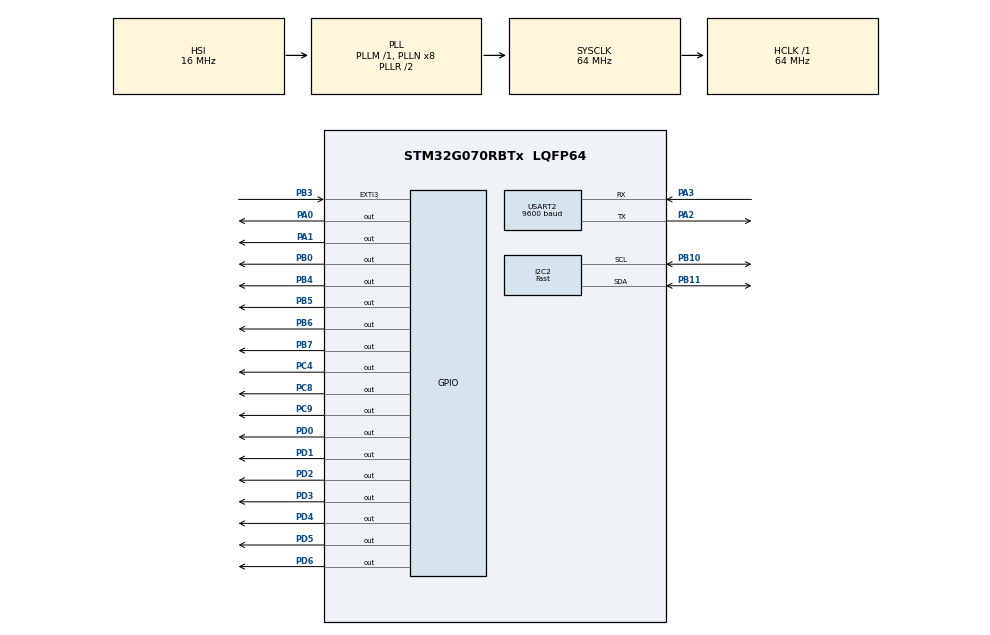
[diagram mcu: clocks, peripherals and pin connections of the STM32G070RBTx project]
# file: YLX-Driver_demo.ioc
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I2C2.I2C_Speed_Mode=I2C_Fast
I2C2.Timing=0x00C12166
Mcu.Family=STM32G0
Mcu.Name=STM32G070RBTx
Mcu.Package=LQFP64
NVIC.USART2_IRQn=true\:0\:0\:false\:false\:true\:true\:true\:true
PA0.Signal=GPIO_Output
PA1.Signal=GPIO_Output
PA13.Mode=Serial_Wire
PA13.Signal=SYS_SWDIO
PA14-BOOT0.Mode=Serial_Wire
PA14-BOOT0.Signal=SYS_SWCLK
PA2.Mode=Asynchronous
PA2.Signal=USART2_TX
PA3.Mode=Asynchronous
PA3.Signal=USART2_RX
PB0.Signal=GPIO_Output
PB10.Mode=I2C
PB10.Signal=I2C2_SCL
PB11.Mode=I2C
PB11.Signal=I2C2_SDA
PB3.Signal=GPXTI3
PB4.Signal=GPIO_Output
PB5.Signal=GPIO_Output
PB6.Signal=GPIO_Output
PB7.Signal=GPIO_Output
PC4.Signal=GPIO_Output
PC8.Signal=GPIO_Output
PC9.Signal=GPIO_Output
PD0.Signal=GPIO_Output
PD1.Signal=GPIO_Output
PD2.Signal=GPIO_Output
PD3.Signal=GPIO_Output
PD4.Signal=GPIO_Output
PD5.Signal=GPIO_Output
PD6.Signal=GPIO_Output
PF0-OSC_IN\ (PF0).Mode=HSE-External-Oscillator
PF0-OSC_IN\ (PF0).Signal=RCC_OSC_IN
PF1-OSC_OUT\ (PF1).Mode=HSE-External-Oscillator
PF1-OSC_OUT\ (PF1).Signal=RCC_OSC_OUT
ProjectManager.HeapSize=0x200
ProjectManager.StackSize=0x400
ProjectManager.TargetToolchain=CMake
RCC.ADCFreq_Value=64000000
RCC.AHBFreq_Value=64000000
RCC.CortexFreq_Value=64000000
RCC.EXTERNAL_CLOCK_VALUE=48000
RCC.HCLKFreq_Value=64000000
RCC.HSE_VALUE=8000000
RCC.HSI_VALUE=16000000
RCC.LSE_VALUE=32768
RCC.SYSCLKFreq_VALUE=64000000
RCC.SYSCLKSource=RCC_SYSCLKSOURCE_PLLCLK
RCC.VCOOutputFreq_Value=128000000
RTC.Format=RTC_FORMAT_BIN
RTC.Hours=12
RTC.Minutes=8
USART2.BaudRate=9600
USART2.VirtualMode-Asynchronous=VM_ASYNC
VP_RTC_VS_RTC_Activate.Mode=RTC_Enabled
VP_RTC_VS_RTC_Calendar.Mode=RTC_Calendar
board=custom

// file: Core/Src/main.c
/* USER CODE BEGIN Header */
/**
  ******************************************************************************
  * @file           : main.c
  * @brief          : Main program body
  ******************************************************************************
  * @attention
  *
  * Copyright (c) 2025 STMicroelectronics.
  * All rights reserved.
  *
  * This software is licensed under terms that can be found in the LICENSE file
  * in the root directory of this software component.
  * If no LICENSE file comes with this software, it is provided AS-IS.
  *
  ******************************************************************************
  */
/* USER CODE END Header */
#include "main.h"
#include "i2c.h"
#include "rtc.h"
#include "usart.h"
#include "gpio.h"

/* USER CODE BEGIN Includes */
#include <stdint.h>
#include <stdio.h>
#include <string.h>
#include <sys/_intsup.h>
#include "stdlib.h"
#include "DS3231.h"
#include "relay.h"
#include "seg_usart.h"
/* USER CODE END Includes */

void SystemClock_Config(void);
/* USER CODE BEGIN PFP */
 #ifdef __GNUC__
     #define PUTCHAR_PROTOTYPE int __io_putchar(int ch)
 #else
     #define PUTCHAR_PROTOTYPE int fputc(int ch, FILE *f)
 #endif /* __GNUC__*/
/* USER CODE END PFP */

/* USER CODE BEGIN 0 */

PUTCHAR_PROTOTYPE
{
   uint8_t c = (uint8_t)ch;
  HAL_UART_Transmit(&huart2, &c, 1, HAL_MAX_DELAY);
  return ch;
}
/* USER CODE END 0 */

int main(void)
{

  /* MCU Configuration--------------------------------------------------------*/

  /* Reset of all peripherals, Initializes the Flash interface and the Systick. */
  HAL_Init();

  /* Configure the system clock */
  SystemClock_Config();

  /* Initialize all configured peripherals */
  MX_GPIO_Init();
  MX_RTC_Init();
  MX_USART2_UART_Init();
  MX_I2C2_Init();
  /* USER CODE BEGIN 2 */

  // DS3231_Init();
  const Time_Register time_register[16] = {
    [0] = {
      .time_hour = 23,
      .time_minute = 15,
      .relay_state = 1
    }
  };

  /* USER CODE END 2 */

  /* Infinite loop */
  /* USER CODE BEGIN WHILE */
  while (1)
  {
    // HAL_UART_Transmit(&huart2, (uint8_t *)"ok\r\n", 2, 50);
    // printf("ok\r\n");
    // HAL_Delay(1000);

    DS3231_Read_All();
	  DS3231_Read_Time();
    seg_show_time(DS3231_Time.hour, DS3231_Time.min);

    // relay_register_scan(time_register);

    /* USER CODE END WHILE */

  }
}

void SystemClock_Config(void)
{
  RCC_OscInitTypeDef RCC_OscInitStruct = {0};
  RCC_ClkInitTypeDef RCC_ClkInitStruct = {0};

  /** Configure the main internal regulator output voltage
  */
  HAL_PWREx_ControlVoltageScaling(PWR_REGULATOR_VOLTAGE_SCALE1);

  /** Initializes the RCC Oscillators according to the specified parameters
  * in the RCC_OscInitTypeDef structure.
  */
  RCC_OscInitStruct.OscillatorType = RCC_OSCILLATORTYPE_HSI|RCC_OSCILLATORTYPE_LSI;
  RCC_OscInitStruct.HSIState = RCC_HSI_ON;
  RCC_OscInitStruct.HSIDiv = RCC_HSI_DIV1;
  RCC_OscInitStruct.HSICalibrationValue = RCC_HSICALIBRATION_DEFAULT;
  RCC_OscInitStruct.LSIState = RCC_LSI_ON;
  RCC_OscInitStruct.PLL.PLLState = RCC_PLL_ON;
  RCC_OscInitStruct.PLL.PLLSource = RCC_PLLSOURCE_HSI;
  RCC_OscInitStruct.PLL.PLLM = RCC_PLLM_DIV1;
  RCC_OscInitStruct.PLL.PLLN = 8;
  RCC_OscInitStruct.PLL.PLLP = RCC_PLLP_DIV2;
  RCC_OscInitStruct.PLL.PLLR = RCC_PLLR_DIV2;
  if (HAL_RCC_OscConfig(&RCC_OscInitStruct) != HAL_OK)
  {
    Error_Handler();
  }

  /** Initializes the CPU, AHB and APB buses clocks
  */
  RCC_ClkInitStruct.ClockType = RCC_CLOCKTYPE_HCLK|RCC_CLOCKTYPE_SYSCLK
                              |RCC_CLOCKTYPE_PCLK1;
  RCC_ClkInitStruct.SYSCLKSource = RCC_SYSCLKSOURCE_PLLCLK;
  RCC_ClkInitStruct.AHBCLKDivider = RCC_SYSCLK_DIV1;
  RCC_ClkInitStruct.APB1CLKDivider = RCC_HCLK_DIV1;

  if (HAL_RCC_ClockConfig(&RCC_ClkInitStruct, FLASH_LATENCY_2) != HAL_OK)
  {
    Error_Handler();
  }
}

/* USER CODE BEGIN 4 */
void HAL_UARTEx_RxEventCallback(UART_HandleTypeDef *huart, uint16_t Size)
{
  if(huart -> Instance == USART2)
  {
    printf("%s", str);
    char Year[4];
    char Month[2];
    char Day[2];
    char Hour[2];
    char Minute[2];
    char Second[2];

    strncpy(Year, str, 4);
    strncpy(Month, str + 5, 2);
    strncpy(Day, str + 8, 2);
    strncpy(Hour, str + 11, 2);
    strncpy(Minute, str + 14, 2);
    strncpy(Second, str + 17, 2);

    DS3231_TimeType time_setting = {
        .sec = atoi(Second),
        .min = atoi(Minute),
        .hour = atoi(Hour),
        .hour_form = HOUR_FORM_24,  // 必须指定小时格式
        .date = atoi(Day),
        .mon = atoi(Month),
        .year = atoi(Year) % 100,
        .day = 3  // 星期几，默认设为1
    };
    DS3231_Set_Time(&time_setting);
    DS3231_Update();

    DS3231_Read_All();
	  DS3231_Read_Time();
    printf("20%d/%d/%d %02d:%02d:%02d\r\n",DS3231_Time.year,DS3231_Time.mon,DS3231_Time.date,DS3231_Time.hour,DS3231_Time.min,DS3231_Time.sec);
    HAL_UARTEx_ReceiveToIdle_IT(&huart2, (uint8_t *)str, RX_BUFFER_SIZE);
  }
}

/* USER CODE END 4 */

void Error_Handler(void)
{
  __disable_irq();
  while (1)
  {
  }
}
